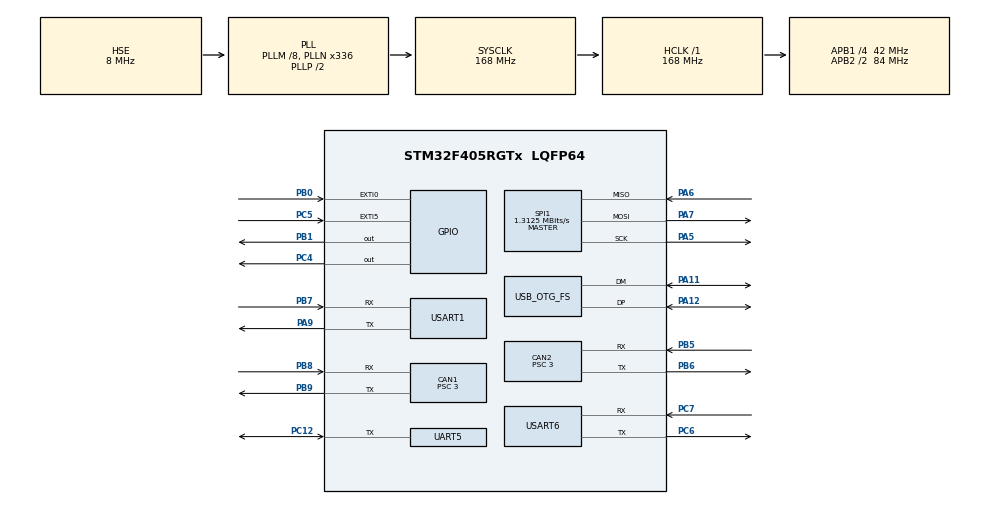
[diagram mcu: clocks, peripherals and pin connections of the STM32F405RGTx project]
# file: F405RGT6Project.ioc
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CAN1.ABOM=ENABLE
CAN1.BS1=CAN_BS1_11TQ
CAN1.BS2=CAN_BS2_2TQ
CAN1.CalculateBaudRate=1000000
CAN1.CalculateTimeBit=1000
CAN1.CalculateTimeQuantum=71.42857142857143
CAN1.NART=ENABLE
CAN1.Prescaler=3
CAN2.ABOM=ENABLE
CAN2.BS1=CAN_BS1_11TQ
CAN2.BS2=CAN_BS2_2TQ
CAN2.CalculateBaudRate=1000000
CAN2.CalculateTimeBit=1000
CAN2.CalculateTimeQuantum=71.42857142857143
CAN2.NART=ENABLE
CAN2.Prescaler=3
Dma.Request0=USART1_RX
Dma.Request1=USART1_TX
Dma.Request2=SPI1_RX
Dma.Request3=SPI1_TX
Dma.Request4=USART6_RX
Dma.Request5=USART6_TX
Dma.SPI1_RX.2.Direction=DMA_PERIPH_TO_MEMORY
Dma.SPI1_RX.2.FIFOMode=DMA_FIFOMODE_DISABLE
Dma.SPI1_RX.2.Instance=DMA2_Stream0
Dma.SPI1_RX.2.MemDataAlignment=DMA_MDATAALIGN_BYTE
Dma.SPI1_RX.2.MemInc=DMA_MINC_ENABLE
Dma.SPI1_RX.2.Mode=DMA_NORMAL
Dma.SPI1_RX.2.PeriphDataAlignment=DMA_PDATAALIGN_BYTE
Dma.SPI1_RX.2.PeriphInc=DMA_PINC_DISABLE
Dma.SPI1_RX.2.Priority=DMA_PRIORITY_LOW
Dma.SPI1_TX.3.Direction=DMA_MEMORY_TO_PERIPH
Dma.SPI1_TX.3.FIFOMode=DMA_FIFOMODE_DISABLE
Dma.SPI1_TX.3.Instance=DMA2_Stream3
Dma.SPI1_TX.3.MemDataAlignment=DMA_MDATAALIGN_BYTE
Dma.SPI1_TX.3.MemInc=DMA_MINC_ENABLE
Dma.SPI1_TX.3.Mode=DMA_NORMAL
Dma.SPI1_TX.3.PeriphDataAlignment=DMA_PDATAALIGN_BYTE
Dma.SPI1_TX.3.PeriphInc=DMA_PINC_DISABLE
Dma.SPI1_TX.3.Priority=DMA_PRIORITY_LOW
Dma.USART1_RX.0.Direction=DMA_PERIPH_TO_MEMORY
Dma.USART1_RX.0.FIFOMode=DMA_FIFOMODE_DISABLE
Dma.USART1_RX.0.Instance=DMA2_Stream2
Dma.USART1_RX.0.MemDataAlignment=DMA_MDATAALIGN_BYTE
Dma.USART1_RX.0.MemInc=DMA_MINC_ENABLE
Dma.USART1_RX.0.Mode=DMA_NORMAL
Dma.USART1_RX.0.PeriphDataAlignment=DMA_PDATAALIGN_BYTE
Dma.USART1_RX.0.PeriphInc=DMA_PINC_DISABLE
Dma.USART1_RX.0.Priority=DMA_PRIORITY_LOW
Dma.USART1_TX.1.Direction=DMA_MEMORY_TO_PERIPH
Dma.USART1_TX.1.FIFOMode=DMA_FIFOMODE_DISABLE
Dma.USART1_TX.1.Instance=DMA2_Stream7
Dma.USART1_TX.1.MemDataAlignment=DMA_MDATAALIGN_BYTE
Dma.USART1_TX.1.MemInc=DMA_MINC_ENABLE
Dma.USART1_TX.1.Mode=DMA_NORMAL
Dma.USART1_TX.1.PeriphDataAlignment=DMA_PDATAALIGN_BYTE
Dma.USART1_TX.1.PeriphInc=DMA_PINC_DISABLE
Dma.USART1_TX.1.Priority=DMA_PRIORITY_LOW
Dma.USART6_RX.4.Direction=DMA_PERIPH_TO_MEMORY
Dma.USART6_RX.4.FIFOMode=DMA_FIFOMODE_DISABLE
Dma.USART6_RX.4.Instance=DMA2_Stream1
Dma.USART6_RX.4.MemDataAlignment=DMA_MDATAALIGN_BYTE
Dma.USART6_RX.4.MemInc=DMA_MINC_ENABLE
Dma.USART6_RX.4.Mode=DMA_NORMAL
Dma.USART6_RX.4.PeriphDataAlignment=DMA_PDATAALIGN_BYTE
Dma.USART6_RX.4.PeriphInc=DMA_PINC_DISABLE
Dma.USART6_RX.4.Priority=DMA_PRIORITY_LOW
Dma.USART6_TX.5.Direction=DMA_MEMORY_TO_PERIPH
Dma.USART6_TX.5.FIFOMode=DMA_FIFOMODE_DISABLE
Dma.USART6_TX.5.Instance=DMA2_Stream6
Dma.USART6_TX.5.MemDataAlignment=DMA_MDATAALIGN_BYTE
Dma.USART6_TX.5.MemInc=DMA_MINC_ENABLE
Dma.USART6_TX.5.Mode=DMA_NORMAL
Dma.USART6_TX.5.PeriphDataAlignment=DMA_PDATAALIGN_BYTE
Dma.USART6_TX.5.PeriphInc=DMA_PINC_DISABLE
Dma.USART6_TX.5.Priority=DMA_PRIORITY_LOW
FREERTOS.Tasks01=InitTask,55,1024,StartInitTask,As weak,NULL,Dynamic,NULL,NULL;main_Task_1khz,54,1024,main_Task_1ms,As weak,NULL,Dynamic,NULL,NULL;Data_ptintf,52,512,Data_ptintf_task,As weak,NULL,Dynamic,NULL,NULL;TimeCount,55,128,TimeCountTask,As weak,NULL,Dynamic,NULL,NULL
FREERTOS.configGENERATE_RUN_TIME_STATS=1
FREERTOS.configRECORD_STACK_HIGH_ADDRESS=1
FREERTOS.configTOTAL_HEAP_SIZE=35360
Mcu.Family=STM32F4
Mcu.Name=STM32F405RGTx
Mcu.Package=LQFP64
NVIC.CAN1_RX0_IRQn=true\:5\:0\:false\:false\:true\:true\:true\:true\:true
NVIC.CAN1_RX1_IRQn=true\:5\:0\:false\:false\:true\:true\:true\:true\:true
NVIC.CAN1_SCE_IRQn=true\:5\:0\:false\:false\:true\:true\:true\:true\:true
NVIC.CAN1_TX_IRQn=true\:5\:0\:false\:false\:true\:true\:true\:true\:true
NVIC.CAN2_RX0_IRQn=true\:5\:0\:false\:false\:true\:true\:true\:true\:true
NVIC.CAN2_RX1_IRQn=true\:5\:0\:false\:false\:true\:true\:true\:true\:true
NVIC.CAN2_SCE_IRQn=true\:5\:0\:false\:false\:true\:true\:true\:true\:true
NVIC.CAN2_TX_IRQn=true\:5\:0\:false\:false\:true\:true\:true\:true\:true
NVIC.DMA2_Stream0_IRQn=true\:5\:0\:false\:false\:true\:true\:false\:true\:true
NVIC.DMA2_Stream1_IRQn=true\:5\:0\:false\:false\:true\:true\:false\:true\:true
NVIC.DMA2_Stream2_IRQn=true\:5\:0\:false\:false\:true\:true\:false\:true\:true
NVIC.DMA2_Stream3_IRQn=true\:5\:0\:false\:false\:true\:true\:false\:true\:true
NVIC.DMA2_Stream6_IRQn=true\:5\:0\:false\:false\:true\:true\:false\:true\:true
NVIC.DMA2_Stream7_IRQn=true\:5\:0\:false\:false\:true\:true\:false\:true\:true
NVIC.EXTI0_IRQn=true\:5\:0\:false\:false\:true\:true\:true\:true\:true
NVIC.EXTI9_5_IRQn=true\:5\:0\:false\:false\:true\:true\:true\:true\:true
NVIC.OTG_FS_IRQn=true\:5\:0\:false\:false\:true\:true\:false\:true\:true
NVIC.PriorityGroup=NVIC_PRIORITYGROUP_4
NVIC.RCC_IRQn=true\:5\:0\:false\:false\:true\:true\:true\:false\:true
NVIC.SPI1_IRQn=true\:5\:0\:false\:false\:true\:true\:true\:true\:true
NVIC.TIM6_DAC_IRQn=true\:15\:0\:false\:false\:true\:false\:false\:true\:true
NVIC.TimeBase=TIM6_DAC_IRQn
NVIC.TimeBaseIP=TIM6
NVIC.USART1_IRQn=true\:5\:0\:false\:false\:true\:true\:true\:true\:true
NVIC.USART6_IRQn=true\:5\:0\:false\:false\:true\:true\:true\:true\:true
PA11.Mode=Device_Only
PA11.Signal=USB_OTG_FS_DM
PA12.Mode=Device_Only
PA12.Signal=USB_OTG_FS_DP
PA13.Mode=Serial_Wire
PA13.Signal=SYS_JTMS-SWDIO
PA14.Mode=Serial_Wire
PA14.Signal=SYS_JTCK-SWCLK
PA5.Mode=Full_Duplex_Master
PA5.Signal=SPI1_SCK
PA6.Mode=Full_Duplex_Master
PA6.Signal=SPI1_MISO
PA7.Mode=Full_Duplex_Master
PA7.Signal=SPI1_MOSI
PA9.Mode=Asynchronous
PA9.Signal=USART1_TX
PB0.Signal=GPXTI0
PB1.PinState=GPIO_PIN_SET
PB1.Signal=GPIO_Output
PB5.Mode=CAN_Activate
PB5.Signal=CAN2_RX
PB6.Mode=CAN_Activate
PB6.Signal=CAN2_TX
PB7.Mode=Asynchronous
PB7.Signal=USART1_RX
PB8.Mode=CAN_Activate
PB8.Signal=CAN1_RX
PB9.Mode=CAN_Activate
PB9.Signal=CAN1_TX
PC12.Mode=Half_duplex(single_wire_mode)
PC12.Signal=UART5_TX
PC4.PinState=GPIO_PIN_SET
PC4.Signal=GPIO_Output
PC5.Signal=GPXTI5
PC6.Mode=Asynchronous
PC6.Signal=USART6_TX
PC7.Mode=Asynchronous
PC7.Signal=USART6_RX
PC8.Signal=S_TIM3_CH3
PD2.Signal=UART5_RX
PH0-OSC_IN.Mode=HSE-External-Oscillator
PH0-OSC_IN.Signal=RCC_OSC_IN
PH1-OSC_OUT.Mode=HSE-External-Oscillator
PH1-OSC_OUT.Signal=RCC_OSC_OUT
ProjectManager.HeapSize=0x200
ProjectManager.StackSize=0x400
ProjectManager.TargetToolchain=CMake
RCC.48MHZClocksFreq_Value=48000000
RCC.AHBFreq_Value=168000000
RCC.APB1CLKDivider=RCC_HCLK_DIV4
RCC.APB1Freq_Value=42000000
RCC.APB1TimFreq_Value=84000000
RCC.APB2CLKDivider=RCC_HCLK_DIV2
RCC.APB2Freq_Value=84000000
RCC.APB2TimFreq_Value=168000000
RCC.CortexFreq_Value=168000000
RCC.HCLKFreq_Value=168000000
RCC.HSE_VALUE=8000000
RCC.HSI_VALUE=16000000
RCC.LSE_VALUE=32768
RCC.PLLM=8
RCC.PLLN=336
RCC.PLLQ=7
RCC.SYSCLKFreq_VALUE=168000000
RCC.SYSCLKSource=RCC_SYSCLKSOURCE_PLLCLK
RCC.VCOOutputFreq_Value=336000000
SH.S_TIM3_CH3.0=TIM3_CH3
SPI1.BaudRatePrescaler=SPI_BAUDRATEPRESCALER_64
SPI1.CalculateBaudRate=1.3125 MBits/s
SPI1.Direction=SPI_DIRECTION_2LINES
SPI1.Mode=SPI_MODE_MASTER
SPI1.VirtualType=VM_MASTER
UART5.VirtualMode=Asynchronous
USART1.VirtualMode=VM_ASYNC
USART6.VirtualMode=VM_ASYNC
USB_DEVICE.CLASS_NAME_FS=CDC
USB_DEVICE.VirtualMode-CDC_FS=Cdc
USB_DEVICE.VirtualModeFS=Cdc_FS
USB_OTG_FS.VirtualMode=Device_Only
VP_FREERTOS_VS_CMSIS_V2.Mode=CMSIS_V2
VP_SYS_VS_tim6.Mode=TIM6
VP_USB_DEVICE_VS_USB_DEVICE_CDC_FS.Mode=CDC_FS
board=custom

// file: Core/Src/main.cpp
/* USER CODE BEGIN Header */
/**
  ******************************************************************************
  * @file           : main.cpp
  * @brief          : Main program body
  ******************************************************************************
  * @attention
  *
  * Copyright (c) 2026 STMicroelectronics.
  * All rights reserved.
  *
  * This software is licensed under terms that can be found in the LICENSE file
  * in the root directory of this software component.
  * If no LICENSE file comes with this software, it is provided AS-IS.
  *
  ******************************************************************************
  */
/* USER CODE END Header */
#include "main.h"
#include "cmsis_os.h"
#include "can.h"
#include "dma.h"
#include "spi.h"
#include "usart.h"
#include "usb_device.h"
#include "gpio.h"

/* USER CODE BEGIN Includes */
#include "Gimbal_Task.h"
#include "Serial.h"
#include "mx_api.h"
/* USER CODE END Includes */

void SystemClock_Config(void);
void MX_FREERTOS_Init(void);

/* USER CODE BEGIN 0 */

/**
 * @brief USB FS D+ 虚拟拔插
 *
 */
static void USB_FS_ReEnumerate(void)
{
    GPIO_InitTypeDef GPIO_InitStruct = {0};

    __HAL_RCC_GPIOA_CLK_ENABLE();

    /* 1. 临时把 PA12 当普通 GPIO 输出 */
    HAL_GPIO_DeInit(GPIOA, GPIO_PIN_12);
    GPIO_InitStruct.Pin = GPIO_PIN_12;
    GPIO_InitStruct.Mode = GPIO_MODE_OUTPUT_PP;
    GPIO_InitStruct.Pull = GPIO_NOPULL;
    GPIO_InitStruct.Speed = GPIO_SPEED_FREQ_LOW;
    HAL_GPIO_Init(GPIOA, &GPIO_InitStruct);

    /* 2. 强制拉低 D+，模拟设备断开 */
    HAL_GPIO_WritePin(GPIOA, GPIO_PIN_12, GPIO_PIN_RESET);
    HAL_Delay(20);   // 20~65ms 都有人用，按实际测试调

    /* 3. 释放这个引脚，后面交给 USB 外设重新初始化 */
    HAL_GPIO_DeInit(GPIOA, GPIO_PIN_12);
}
/* USER CODE END 0 */

int main(void)
{

  /* MCU Configuration--------------------------------------------------------*/

  /* Reset of all peripherals, Initializes the Flash interface and the Systick. */
  HAL_Init();

  /* Configure the system clock */
  SystemClock_Config();

  /* Initialize all configured peripherals */
  MX_GPIO_Init();
  MX_DMA_Init();
  MX_USART1_UART_Init();
  MX_SPI1_Init();
  MX_USART6_UART_Init();
  MX_CAN1_Init();
  MX_CAN2_Init();
  MX_UART5_Init();
  /* USER CODE BEGIN 2 */
  USB_FS_ReEnumerate();
  /* USER CODE END 2 */

  /* Init scheduler */
  osKernelInitialize();  /* Call init function for freertos objects (in cmsis_os2.c) */
  MX_FREERTOS_Init();

  /* Start scheduler */
  osKernelStart();

  /* We should never get here as control is now taken by the scheduler */

  /* Infinite loop */
  while (1)
  {

  }
}

void SystemClock_Config(void)
{
  RCC_OscInitTypeDef RCC_OscInitStruct = {0};
  RCC_ClkInitTypeDef RCC_ClkInitStruct = {0};

  /** Configure the main internal regulator output voltage
  */
  __HAL_RCC_PWR_CLK_ENABLE();
  __HAL_PWR_VOLTAGESCALING_CONFIG(PWR_REGULATOR_VOLTAGE_SCALE1);

  /** Initializes the RCC Oscillators according to the specified parameters
  * in the RCC_OscInitTypeDef structure.
  */
  RCC_OscInitStruct.OscillatorType = RCC_OSCILLATORTYPE_HSE;
  RCC_OscInitStruct.HSEState = RCC_HSE_ON;
  RCC_OscInitStruct.PLL.PLLState = RCC_PLL_ON;
  RCC_OscInitStruct.PLL.PLLSource = RCC_PLLSOURCE_HSE;
  RCC_OscInitStruct.PLL.PLLM = 8;
  RCC_OscInitStruct.PLL.PLLN = 336;
  RCC_OscInitStruct.PLL.PLLP = RCC_PLLP_DIV2;
  RCC_OscInitStruct.PLL.PLLQ = 7;
  if (HAL_RCC_OscConfig(&RCC_OscInitStruct) != HAL_OK)
  {
    Error_Handler();
  }

  /** Initializes the CPU, AHB and APB buses clocks
  */
  RCC_ClkInitStruct.ClockType = RCC_CLOCKTYPE_HCLK|RCC_CLOCKTYPE_SYSCLK
                              |RCC_CLOCKTYPE_PCLK1|RCC_CLOCKTYPE_PCLK2;
  RCC_ClkInitStruct.SYSCLKSource = RCC_SYSCLKSOURCE_PLLCLK;
  RCC_ClkInitStruct.AHBCLKDivider = RCC_SYSCLK_DIV1;
  RCC_ClkInitStruct.APB1CLKDivider = RCC_HCLK_DIV4;
  RCC_ClkInitStruct.APB2CLKDivider = RCC_HCLK_DIV2;

  if (HAL_RCC_ClockConfig(&RCC_ClkInitStruct, FLASH_LATENCY_5) != HAL_OK)
  {
    Error_Handler();
  }
}

void HAL_TIM_PeriodElapsedCallback(TIM_HandleTypeDef *htim)
{
  if (htim->Instance == TIM6)
  {
    HAL_IncTick();
  }
}

void Error_Handler(void)
{
  __disable_irq();
  while (1)
  {
  }
}

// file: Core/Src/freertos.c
/* USER CODE BEGIN Header */
/**
  ******************************************************************************
  * File Name          : freertos.c
  * Description        : Code for freertos applications
  ******************************************************************************
  * @attention
  *
  * Copyright (c) 2026 STMicroelectronics.
  * All rights reserved.
  *
  * This software is licensed under terms that can be found in the LICENSE file
  * in the root directory of this software component.
  * If no LICENSE file comes with this software, it is provided AS-IS.
  *
  ******************************************************************************
  */
/* USER CODE END Header */

#include "FreeRTOS.h"
#include "task.h"
#include "main.h"
#include "cmsis_os.h"

/* USER CODE BEGIN Includes */
#include "DWT.h"

/* USER CODE END Includes */

/* Definitions for InitTask */
osThreadId_t InitTaskHandle;
const osThreadAttr_t InitTask_attributes = {
  .name = "InitTask",
  .stack_size = 1024 * 4,
  .priority = (osPriority_t) osPriorityRealtime7,
};
/* Definitions for main_Task_1khz */
osThreadId_t main_Task_1khzHandle;
const osThreadAttr_t main_Task_1khz_attributes = {
  .name = "main_Task_1khz",
  .stack_size = 1024 * 4,
  .priority = (osPriority_t) osPriorityRealtime6,
};
/* Definitions for Data_ptintf */
osThreadId_t Data_ptintfHandle;
const osThreadAttr_t Data_ptintf_attributes = {
  .name = "Data_ptintf",
  .stack_size = 512 * 4,
  .priority = (osPriority_t) osPriorityRealtime4,
};
/* Definitions for TimeCount */
osThreadId_t TimeCountHandle;
const osThreadAttr_t TimeCount_attributes = {
  .name = "TimeCount",
  .stack_size = 128 * 4,
  .priority = (osPriority_t) osPriorityRealtime7,
};

void StartInitTask(void *argument);
void main_Task_1ms(void *argument);
void Data_ptintf_task(void *argument);
void TimeCountTask(void *argument);

extern void MX_USB_DEVICE_Init(void);
void MX_FREERTOS_Init(void); /* (MISRA C 2004 rule 8.1) */

/* Hook prototypes */
void configureTimerForRunTimeStats(void);
unsigned long getRunTimeCounterValue(void);

/* USER CODE BEGIN 1 */
/* Functions needed when configGENERATE_RUN_TIME_STATS is on */
__weak void configureTimerForRunTimeStats(void)
{
  DWT_Init();
}

__weak unsigned long getRunTimeCounterValue(void)
{
  return DWT_GetCYCCNT();
}
/* USER CODE END 1 */

void MX_FREERTOS_Init(void) {

  /* Create the thread(s) */
  /* creation of InitTask */
  InitTaskHandle = osThreadNew(StartInitTask, NULL, &InitTask_attributes);

  /* creation of main_Task_1khz */
  main_Task_1khzHandle = osThreadNew(main_Task_1ms, NULL, &main_Task_1khz_attributes);

  /* creation of Data_ptintf */
  Data_ptintfHandle = osThreadNew(Data_ptintf_task, NULL, &Data_ptintf_attributes);

  /* creation of TimeCount */
  TimeCountHandle = osThreadNew(TimeCountTask, NULL, &TimeCount_attributes);

}

__weak void StartInitTask(void *argument)
{
  /* init code for USB_DEVICE */
  MX_USB_DEVICE_Init();
  for(;;)
  {
    osDelay(1);
  }
}

__weak void main_Task_1ms(void *argument)
{
  for(;;)
  {
    osDelay(1);
  }
}

__weak void Data_ptintf_task(void *argument)
{
  for(;;)
  {
    osDelay(1);
  }
}

__weak void TimeCountTask(void *argument)
{
  for(;;)
  {
    osDelay(1);
  }
}
